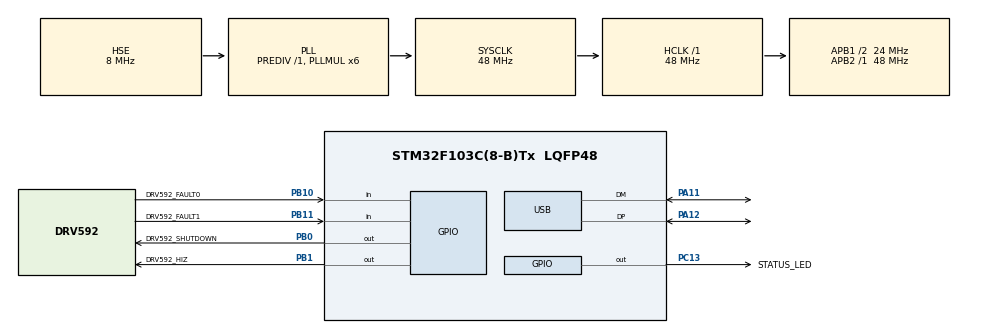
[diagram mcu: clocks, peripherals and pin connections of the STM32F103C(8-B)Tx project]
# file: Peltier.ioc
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ADC1.Channel-0\#ChannelRegularConversion=ADC_CHANNEL_0
ADC1.ContinuousConvMode=DISABLE
ADC1.NbrOfConversion=1
ADC1.NbrOfConversionFlag=1
ADC1.Rank-0\#ChannelRegularConversion=1
ADC1.SamplingTime-0\#ChannelRegularConversion=ADC_SAMPLETIME_239CYCLES_5
ADC1.master=1
Mcu.Family=STM32F1
Mcu.Name=STM32F103C(8-B)Tx
Mcu.Package=LQFP48
NVIC.PriorityGroup=NVIC_PRIORITYGROUP_4
NVIC.TIM3_IRQn=true\:1\:0\:true\:false\:true\:true\:true
NVIC.USB_LP_CAN1_RX0_IRQn=true\:0\:0\:false\:false\:true\:false\:true
PA0-WKUP.Signal=ADCx_IN0
PA11.Mode=Device
PA11.Signal=USB_DM
PA12.Mode=Device
PA12.Signal=USB_DP
PA13.Mode=Serial_Wire
PA13.Signal=SYS_JTMS-SWDIO
PA14.Mode=Serial_Wire
PA14.Signal=SYS_JTCK-SWCLK
PA8.GPIO_Label=DRV592_INp
PA8.Signal=S_TIM1_CH1
PA9.GPIO_Label=DRV592_INn
PA9.Signal=S_TIM1_CH2
PB0.GPIO_Label=DRV592_SHUTDOWN
PB0.PinState=GPIO_PIN_RESET
PB0.Signal=GPIO_Output
PB1.GPIO_Label=DRV592_HIZ
PB1.PinState=GPIO_PIN_RESET
PB1.Signal=GPIO_Output
PB10.GPIO_Label=DRV592_FAULT0
PB10.GPIO_PuPd=GPIO_PULLUP
PB10.Signal=GPIO_Input
PB11.GPIO_Label=DRV592_FAULT1
PB11.GPIO_PuPd=GPIO_PULLUP
PB11.Signal=GPIO_Input
PC13-TAMPER-RTC.GPIO_Label=STATUS_LED
PC13-TAMPER-RTC.PinState=GPIO_PIN_SET
PC13-TAMPER-RTC.Signal=GPIO_Output
PC14-OSC32_IN.Mode=LSE-External-Oscillator
PC14-OSC32_IN.Signal=RCC_OSC32_IN
PC15-OSC32_OUT.Mode=LSE-External-Oscillator
PC15-OSC32_OUT.Signal=RCC_OSC32_OUT
PD0-OSC_IN.Mode=HSE-External-Oscillator
PD0-OSC_IN.Signal=RCC_OSC_IN
PD1-OSC_OUT.Mode=HSE-External-Oscillator
PD1-OSC_OUT.Signal=RCC_OSC_OUT
ProjectManager.HeapSize=0x200
ProjectManager.StackSize=0x400
ProjectManager.TargetToolchain=STM32CubeIDE
RCC.ADCPRESC=RCC_ADCPCLK2_DIV4
RCC.AHBFreq_Value=48000000
RCC.APB1CLKDivider=RCC_HCLK_DIV2
RCC.APB1Freq_Value=24000000
RCC.APB1TimFreq_Value=48000000
RCC.APB2Freq_Value=48000000
RCC.APB2TimFreq_Value=48000000
RCC.HCLKFreq_Value=48000000
RCC.PLLMUL=RCC_PLL_MUL6
RCC.SYSCLKFreq_VALUE=48000000
RCC.SYSCLKSource=RCC_SYSCLKSOURCE_PLLCLK
RCC.USBFreq_Value=48000000
TIM1.AutoReloadPreload=TIM_AUTORELOAD_PRELOAD_ENABLE
TIM1.Channel-PWM\ Generation1\ CH1=TIM_CHANNEL_1
TIM1.Channel-PWM\ Generation2\ CH2=TIM_CHANNEL_2
TIM1.OCMode_PWM-PWM\ Generation1\ CH1=TIM_OCMODE_PWM1
TIM1.OCMode_PWM-PWM\ Generation2\ CH2=TIM_OCMODE_PWM1
TIM1.OCPolarity_PWM-PWM\ Generation1\ CH1=TIM_OCPOLARITY_HIGH
TIM1.OCPolarity_PWM-PWM\ Generation2\ CH2=TIM_OCPOLARITY_HIGH
TIM1.Period=2399
TIM1.Prescaler=0
TIM1.Pulse-PWM\ Generation1\ CH1=0
TIM1.Pulse-PWM\ Generation2\ CH2=0
TIM3.Period=1999
TIM3.Prescaler=479
USB_DEVICE.CLASS_NAME_FS=CDC
USB_DEVICE.VirtualMode=Cdc
USB_DEVICE.VirtualModeFS=Cdc_FS
VP_TIM3_VS_ClockSourceINT.Mode=Internal
VP_USB_DEVICE_VS_USB_DEVICE_CDC_FS.Mode=CDC_FS
board=custom

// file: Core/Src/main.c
/* USER CODE BEGIN Header */
/**
  ******************************************************************************
  * @file           : main.c
  * @brief          : Main program body
  ******************************************************************************
  * @attention
  *
  * <h2><center>&copy; Copyright (c) 2026 STMicroelectronics.
  * All rights reserved.</center></h2>
  *
  * This software component is licensed by ST under BSD 3-Clause license,
  * the "License"; You may not use this file except in compliance with the
  * License. You may obtain a copy of the License at:
  *                        opensource.org/licenses/BSD-3-Clause
  *
  ******************************************************************************
  */
/* USER CODE END Header */
#include "main.h"
#include "usb_device.h"

/* USER CODE BEGIN Includes */
#include "control.h"
#include "cli.h"
#include "usbd_cdc_if.h"
/* USER CODE END Includes */

ADC_HandleTypeDef hadc1;

TIM_HandleTypeDef htim1;
TIM_HandleTypeDef htim3;

void SystemClock_Config(void);
static void MX_GPIO_Init(void);
static void MX_ADC1_Init(void);
static void MX_TIM1_Init(void);
static void MX_TIM3_Init(void);
void HAL_TIM_MspPostInit(TIM_HandleTypeDef *htim);

int main(void)
{

  /* MCU Configuration--------------------------------------------------------*/

  /* Reset of all peripherals, Initializes the Flash interface and the Systick. */
  HAL_Init();

  /* Configure the system clock */
  SystemClock_Config();

  /* USER CODE BEGIN SysInit */
  /* USB re-enumeration trick:
   * Many "Blue Pill" boards ship with a wrong-value D+ pull-up (R10 = 10k
   * instead of 1.5k), so the host doesn't reliably detect insertion.
   * Driving PA12 (D+) low for ~50 ms then releasing forces the host to
   * see a fresh attachment and re-enumerate.  The USB peripheral takes
   * over PA12 again once MX_USB_DEVICE_Init() runs.
   */
  {
    GPIO_InitTypeDef gpio = {0};
    __HAL_RCC_GPIOA_CLK_ENABLE();
    gpio.Pin   = GPIO_PIN_12;
    gpio.Mode  = GPIO_MODE_OUTPUT_PP;
    gpio.Pull  = GPIO_NOPULL;
    gpio.Speed = GPIO_SPEED_FREQ_HIGH;
    HAL_GPIO_Init(GPIOA, &gpio);
    HAL_GPIO_WritePin(GPIOA, GPIO_PIN_12, GPIO_PIN_RESET);
    HAL_Delay(50);
    /* Release PA12 back to floating input so the USB peripheral can drive it. */
    gpio.Mode = GPIO_MODE_INPUT;
    gpio.Pull = GPIO_NOPULL;
    HAL_GPIO_Init(GPIOA, &gpio);
  }
  /* USER CODE END SysInit */

  /* Initialize all configured peripherals */
  MX_GPIO_Init();
  MX_ADC1_Init();
  MX_TIM1_Init();
  MX_TIM3_Init();
  MX_USB_DEVICE_Init();
  /* USER CODE BEGIN 2 */
  /* === USB ENUMERATION ISOLATION TEST ===
   * Temporarily disabling Control_Init() (TIM3 50 Hz IRQ + ADC polling) and
   * CLI_Init() (USB CDC banner print) to test whether the PID code is
   * interfering with USB enumeration.  The MCU still inits USB and blinks
   * the LED in the main loop so we know firmware is alive.
   *
   * If USB enumerates with this build, the bug is somewhere in our 50 Hz
   * loop or its setup.  If it STILL doesn't enumerate, the problem is at
   * a lower level (clock precision, peripheral state, board-specific).
   *
   * Restore the two lines below once we've used this datapoint.
   */
  /* Control_Init(); */
  /* CLI_Init();     */
  /* USER CODE END 2 */

  /* Infinite loop */
  /* USER CODE BEGIN WHILE */
  while (1)
  {
    HAL_GPIO_TogglePin(STATUS_LED_GPIO_Port, STATUS_LED_Pin);
    HAL_Delay(250);   /* 2 Hz blink in main loop, no IRQ used */
    /* CLI_Process();          */
    /* CLI_StreamTelemetry();  */
    /* USER CODE END WHILE */

  }
}

void SystemClock_Config(void)
{
  RCC_OscInitTypeDef RCC_OscInitStruct = {0};
  RCC_ClkInitTypeDef RCC_ClkInitStruct = {0};
  RCC_PeriphCLKInitTypeDef PeriphClkInit = {0};

  /** Initializes the RCC Oscillators according to the specified parameters
  * in the RCC_OscInitTypeDef structure.
  */
  RCC_OscInitStruct.OscillatorType = RCC_OSCILLATORTYPE_HSE;
  RCC_OscInitStruct.HSEState = RCC_HSE_ON;
  RCC_OscInitStruct.HSEPredivValue = RCC_HSE_PREDIV_DIV1;
  RCC_OscInitStruct.HSIState = RCC_HSI_ON;
  RCC_OscInitStruct.PLL.PLLState = RCC_PLL_ON;
  RCC_OscInitStruct.PLL.PLLSource = RCC_PLLSOURCE_HSE;
  RCC_OscInitStruct.PLL.PLLMUL = RCC_PLL_MUL6;
  if (HAL_RCC_OscConfig(&RCC_OscInitStruct) != HAL_OK)
  {
    Error_Handler();
  }
  /** Initializes the CPU, AHB and APB buses clocks
  */
  RCC_ClkInitStruct.ClockType = RCC_CLOCKTYPE_HCLK|RCC_CLOCKTYPE_SYSCLK
                              |RCC_CLOCKTYPE_PCLK1|RCC_CLOCKTYPE_PCLK2;
  RCC_ClkInitStruct.SYSCLKSource = RCC_SYSCLKSOURCE_PLLCLK;
  RCC_ClkInitStruct.AHBCLKDivider = RCC_SYSCLK_DIV1;
  RCC_ClkInitStruct.APB1CLKDivider = RCC_HCLK_DIV2;
  RCC_ClkInitStruct.APB2CLKDivider = RCC_HCLK_DIV1;

  if (HAL_RCC_ClockConfig(&RCC_ClkInitStruct, FLASH_LATENCY_1) != HAL_OK)
  {
    Error_Handler();
  }
  PeriphClkInit.PeriphClockSelection = RCC_PERIPHCLK_USB|RCC_PERIPHCLK_ADC;
  PeriphClkInit.AdcClockSelection = RCC_ADCPCLK2_DIV4;
  PeriphClkInit.UsbClockSelection = RCC_USBCLKSOURCE_PLL;
  if (HAL_RCCEx_PeriphCLKConfig(&PeriphClkInit) != HAL_OK)
  {
    Error_Handler();
  }
}

static void MX_ADC1_Init(void)
{
  ADC_ChannelConfTypeDef sConfig = {0};

  /** Common config
  */
  hadc1.Instance = ADC1;
  hadc1.Init.ScanConvMode = ADC_SCAN_DISABLE;
  hadc1.Init.ContinuousConvMode = DISABLE;
  hadc1.Init.DiscontinuousConvMode = DISABLE;
  hadc1.Init.ExternalTrigConv = ADC_SOFTWARE_START;
  hadc1.Init.DataAlign = ADC_DATAALIGN_RIGHT;
  hadc1.Init.NbrOfConversion = 1;
  if (HAL_ADC_Init(&hadc1) != HAL_OK)
  {
    Error_Handler();
  }
  /** Configure Regular Channel
  */
  sConfig.Channel = ADC_CHANNEL_0;
  sConfig.Rank = ADC_REGULAR_RANK_1;
  sConfig.SamplingTime = ADC_SAMPLETIME_239CYCLES_5;
  if (HAL_ADC_ConfigChannel(&hadc1, &sConfig) != HAL_OK)
  {
    Error_Handler();
  }
}

static void MX_TIM1_Init(void)
{
  TIM_ClockConfigTypeDef sClockSourceConfig = {0};
  TIM_MasterConfigTypeDef sMasterConfig = {0};
  TIM_OC_InitTypeDef sConfigOC = {0};
  TIM_BreakDeadTimeConfigTypeDef sBreakDeadTimeConfig = {0};

  htim1.Instance = TIM1;
  htim1.Init.Prescaler = 0;
  htim1.Init.CounterMode = TIM_COUNTERMODE_UP;
  htim1.Init.Period = 2399;                  /* 48 MHz / 2400 = 20 kHz */
  htim1.Init.ClockDivision = TIM_CLOCKDIVISION_DIV1;
  htim1.Init.RepetitionCounter = 0;
  htim1.Init.AutoReloadPreload = TIM_AUTORELOAD_PRELOAD_ENABLE;
  if (HAL_TIM_Base_Init(&htim1) != HAL_OK)
  {
    Error_Handler();
  }
  sClockSourceConfig.ClockSource = TIM_CLOCKSOURCE_INTERNAL;
  if (HAL_TIM_ConfigClockSource(&htim1, &sClockSourceConfig) != HAL_OK)
  {
    Error_Handler();
  }
  if (HAL_TIM_PWM_Init(&htim1) != HAL_OK)
  {
    Error_Handler();
  }
  sMasterConfig.MasterOutputTrigger = TIM_TRGO_RESET;
  sMasterConfig.MasterSlaveMode = TIM_MASTERSLAVEMODE_DISABLE;
  if (HAL_TIMEx_MasterConfigSynchronization(&htim1, &sMasterConfig) != HAL_OK)
  {
    Error_Handler();
  }
  sConfigOC.OCMode = TIM_OCMODE_PWM1;
  sConfigOC.Pulse = 0;
  sConfigOC.OCPolarity = TIM_OCPOLARITY_HIGH;
  sConfigOC.OCNPolarity = TIM_OCNPOLARITY_HIGH;
  sConfigOC.OCFastMode = TIM_OCFAST_DISABLE;
  sConfigOC.OCIdleState = TIM_OCIDLESTATE_RESET;
  sConfigOC.OCNIdleState = TIM_OCNIDLESTATE_RESET;
  if (HAL_TIM_PWM_ConfigChannel(&htim1, &sConfigOC, TIM_CHANNEL_1) != HAL_OK)
  {
    Error_Handler();
  }
  if (HAL_TIM_PWM_ConfigChannel(&htim1, &sConfigOC, TIM_CHANNEL_2) != HAL_OK)
  {
    Error_Handler();
  }
  sBreakDeadTimeConfig.OffStateRunMode = TIM_OSSR_DISABLE;
  sBreakDeadTimeConfig.OffStateIDLEMode = TIM_OSSI_DISABLE;
  sBreakDeadTimeConfig.LockLevel = TIM_LOCKLEVEL_OFF;
  sBreakDeadTimeConfig.DeadTime = 0;
  sBreakDeadTimeConfig.BreakState = TIM_BREAK_DISABLE;
  sBreakDeadTimeConfig.BreakPolarity = TIM_BREAKPOLARITY_HIGH;
  sBreakDeadTimeConfig.AutomaticOutput = TIM_AUTOMATICOUTPUT_DISABLE;
  if (HAL_TIMEx_ConfigBreakDeadTime(&htim1, &sBreakDeadTimeConfig) != HAL_OK)
  {
    Error_Handler();
  }
  HAL_TIM_MspPostInit(&htim1);
}

static void MX_TIM3_Init(void)
{
  TIM_ClockConfigTypeDef sClockSourceConfig = {0};
  TIM_MasterConfigTypeDef sMasterConfig = {0};

  htim3.Instance = TIM3;
  htim3.Init.Prescaler = 479;                /* 48 MHz / 480 = 100 kHz */
  htim3.Init.CounterMode = TIM_COUNTERMODE_UP;
  htim3.Init.Period = 1999;                  /* 100 kHz / 2000 = 50 Hz */
  htim3.Init.ClockDivision = TIM_CLOCKDIVISION_DIV1;
  htim3.Init.AutoReloadPreload = TIM_AUTORELOAD_PRELOAD_DISABLE;
  if (HAL_TIM_Base_Init(&htim3) != HAL_OK)
  {
    Error_Handler();
  }
  sClockSourceConfig.ClockSource = TIM_CLOCKSOURCE_INTERNAL;
  if (HAL_TIM_ConfigClockSource(&htim3, &sClockSourceConfig) != HAL_OK)
  {
    Error_Handler();
  }
  sMasterConfig.MasterOutputTrigger = TIM_TRGO_RESET;
  sMasterConfig.MasterSlaveMode = TIM_MASTERSLAVEMODE_DISABLE;
  if (HAL_TIMEx_MasterConfigSynchronization(&htim3, &sMasterConfig) != HAL_OK)
  {
    Error_Handler();
  }
}

static void MX_GPIO_Init(void)
{
  GPIO_InitTypeDef GPIO_InitStruct = {0};

  /* GPIO Ports Clock Enable */
  __HAL_RCC_GPIOC_CLK_ENABLE();
  __HAL_RCC_GPIOD_CLK_ENABLE();
  __HAL_RCC_GPIOA_CLK_ENABLE();
  __HAL_RCC_GPIOB_CLK_ENABLE();

  /* Default output levels */
  HAL_GPIO_WritePin(STATUS_LED_GPIO_Port, STATUS_LED_Pin, GPIO_PIN_SET);   /* LED off (active-low) */
  HAL_GPIO_WritePin(DRV592_SHUTDOWN_GPIO_Port, DRV592_SHUTDOWN_Pin, GPIO_PIN_RESET); /* DRV592 disabled */
  HAL_GPIO_WritePin(DRV592_HIZ_GPIO_Port, DRV592_HIZ_Pin, GPIO_PIN_RESET);            /* outputs Hi-Z */

  /* PC13 — STATUS LED (push-pull, low-speed) */
  GPIO_InitStruct.Pin = STATUS_LED_Pin;
  GPIO_InitStruct.Mode = GPIO_MODE_OUTPUT_PP;
  GPIO_InitStruct.Pull = GPIO_NOPULL;
  GPIO_InitStruct.Speed = GPIO_SPEED_FREQ_LOW;
  HAL_GPIO_Init(STATUS_LED_GPIO_Port, &GPIO_InitStruct);

  /* PB0, PB1 — DRV592 SHUTDOWN, HI-Z (push-pull) */
  GPIO_InitStruct.Pin = DRV592_SHUTDOWN_Pin | DRV592_HIZ_Pin;
  GPIO_InitStruct.Mode = GPIO_MODE_OUTPUT_PP;
  GPIO_InitStruct.Pull = GPIO_NOPULL;
  GPIO_InitStruct.Speed = GPIO_SPEED_FREQ_LOW;
  HAL_GPIO_Init(GPIOB, &GPIO_InitStruct);

  /* PB10, PB11 — DRV592 /FAULT0, /FAULT1 (input pull-up; open-drain on chip) */
  GPIO_InitStruct.Pin = DRV592_FAULT0_Pin | DRV592_FAULT1_Pin;
  GPIO_InitStruct.Mode = GPIO_MODE_INPUT;
  GPIO_InitStruct.Pull = GPIO_PULLUP;
  HAL_GPIO_Init(GPIOB, &GPIO_InitStruct);
}

/* USER CODE BEGIN 4 */

/**
  * @brief HAL period-elapsed callback dispatcher
  */
void HAL_TIM_PeriodElapsedCallback(TIM_HandleTypeDef *htim)
{
  if (htim->Instance == TIM3)
  {
    Control_Tick50Hz();
  }
}

/* USER CODE END 4 */

void Error_Handler(void)
{
  __disable_irq();
  while (1) { }
}

/************************ (C) COPYRIGHT STMicroelectronics *****END OF FILE****/
